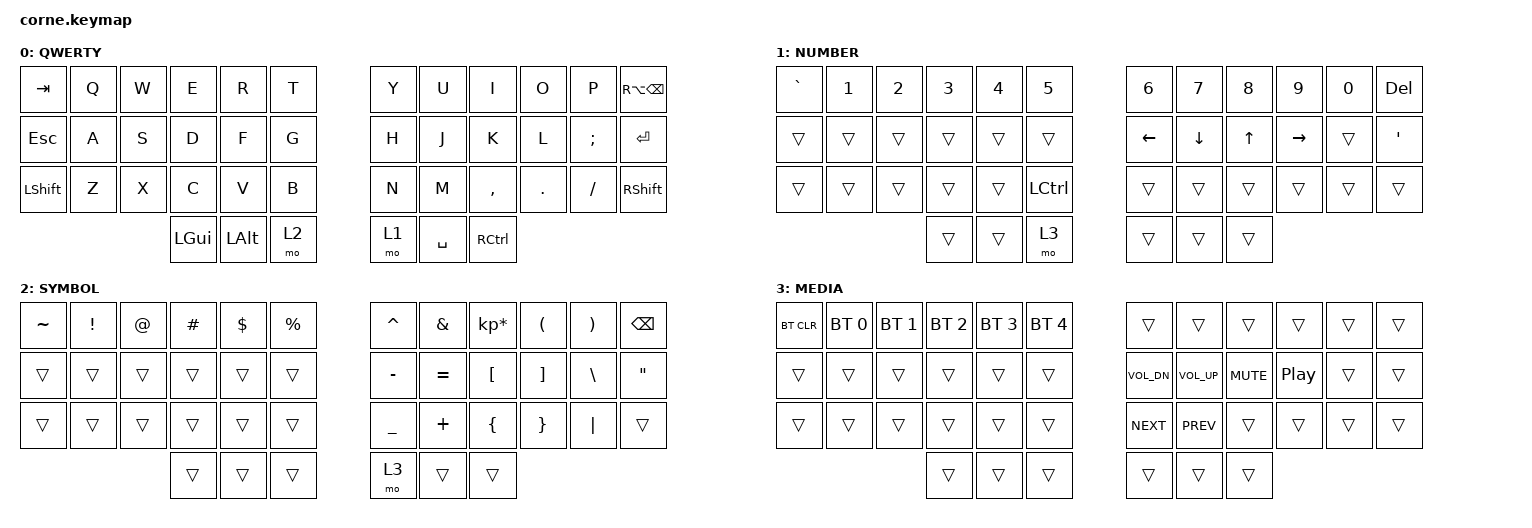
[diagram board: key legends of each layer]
/*
 * Copyright (c) 2020 The ZMK Contributors
 *
 * SPDX-License-Identifier: MIT
 */

#include <behaviors.dtsi>
#include <dt-bindings/zmk/keys.h>
#include <dt-bindings/zmk/bt.h>

/ {
        keymap {
                compatible = "zmk,keymap";

                default_layer {
                        label = "QWERTY";
//                               --------------------------------------------------------------
//                              |  TAB | Q | W | E | R | T |       | Y | U | I | O | P | BKSP  |
//                              |  ESC | A | S | D | F | G |       | H | J | K | L | ; | ENTER |
//                              | SHFT | Z | X | C | V | B |       | N | M | , | . | / | SHFT  |
//                              ----------------------------       ----------------------------
//                                            |GUI|LALT|RSE|       |LWR|SPACE|CTRL|
//                                            --------------       ----------------
                        bindings = <
   &kp TAB    &kp Q  &kp W  &kp E     &kp R      &kp T       &kp Y   &kp U     &kp I      &kp O     &kp P      &kp RA(BSPC)
   &kp ESC    &kp A  &kp S  &kp D     &kp F      &kp G       &kp H   &kp J     &kp K      &kp L     &kp SEMI   &kp RET
   &kp LSHFT  &kp Z  &kp X  &kp C     &kp V      &kp B       &kp N   &kp M     &kp COMMA  &kp DOT   &kp FSLH   &kp RSHIFT
                            &kp LGUI  &kp LALT   &mo 2       &mo 1   &kp SPACE &kp RCTRL 
                        >;
                };
                lower_layer {
                        label = "NUMBER";
//                               -------------------------------         ----------------------------------
//                              |   `   | 1 | 2 | 3 | 4 |   5   |       |  6  |  7  | 8   |  9  | 0 |  DEL |
//                              |  ESC  |   |   |   |   |       |       | LFT | DWN | UP  | RGT |   |   '  |
//                              |  SHFT |   |   |   |   | LCTRL |       |     |     |     |     |   | SHFT |
//                               -------------------------------         ----------------------------------
//                                          | GUI |     | MEDIA |       | ENT |     | ALT | 
//                                           -------------------         -----------------
                        bindings = <
   &kp GRAVE  &kp N1  &kp N2  &kp N3   &kp N4   &kp N5         &kp N6    &kp N7    &kp N8    &kp N9     &kp N0  &kp DEL
   &trans  &trans  &trans  &trans   &trans   &trans         &kp LEFT  &kp DOWN  &kp UP    &kp RIGHT  &trans  &kp SQT
   &trans  &trans  &trans  &trans   &trans   &kp LCTRL      &trans    &trans    &trans    &trans     &trans  &trans
                           &trans   &trans   &mo 3          &trans    &trans    &trans
                        >;
                };

                raise_layer {
                        label = "SYMBOL";
//                              -----------------------------          ----------------------------
//                              |    ~   | ! | @ | # | $ | % |        | ^ | & | * | ( |  )  | BKSP |
//                              |   ESC  |   |   |   |   |   |        | - | = | [ | ] |  \  |  "   |
//                              |  SHFT  |   |   |   |   |   |        | _ | + | { | } | "|" | SHFT |
//                              -----------------------------          ----------------------------
//                                               |GUI|   |SPC|        |MEDIA|   |ALT|
//                                                ------------         -----------

                         bindings = <
     &kp TILDE   &kp EXCL &kp AT &kp HASH &kp DLLR &kp PRCNT     &kp CARET  &kp AMPS  &kp KP_MULTIPLY  &kp LPAR &kp RPAR &kp BSPC
     &trans   &trans   &trans &trans   &trans   &trans        &kp MINUS  &kp EQUAL &kp LBKT         &kp RBKT &kp BSLH &kp DQT
     &trans   &trans   &trans &trans   &trans   &trans        &kp UNDER  &kp PLUS  &kp LBRC         &kp RBRC &kp PIPE &trans
                    	        &trans &trans   &trans        &mo 3    &trans    &trans
                        >;
                };

                config_layer {
                        label = "MEDIA";
//                    ----------------------------------------          -----------------------
//                    |  BTCLR  | BT1 | BT2 | BT3 | BT4 | BT5 |        |    |   |    |   |   |   |
//                    |  CTRL   |     |     |     |     |     |        | 🔉 | 🔊 | 🔕 | ⏯ |  |   |
//                    |  SHFT   |     |     |     |     |     |        | ⏮ | ⏭ |    |   |   |   |
//                    ----------------------------------------          -----------------------
//                                          |GUI  |     | SPC |        |   |   |   |
//                                           -----------------          -----------
                        bindings = <
   &bt BT_CLR  &bt BT_SEL 0  &bt BT_SEL 1  &bt BT_SEL 2  &bt BT_SEL 3  &bt BT_SEL 4             &trans          &trans          &trans          &trans       &trans     &trans
   &trans      &trans        &trans        &trans        &trans        &trans                   &kp C_VOL_DN    &kp C_VOL_UP    &kp C_MUTE      &kp C_PP       &trans     &trans
   &trans      &trans        &trans        &trans        &trans        &trans                   &kp C_NEXT      &kp C_PREV          &trans          &trans       &trans     &trans
                    	                   &trans        &trans        &trans                   &trans          &trans          &trans
                        >; 
                };
        };
};
